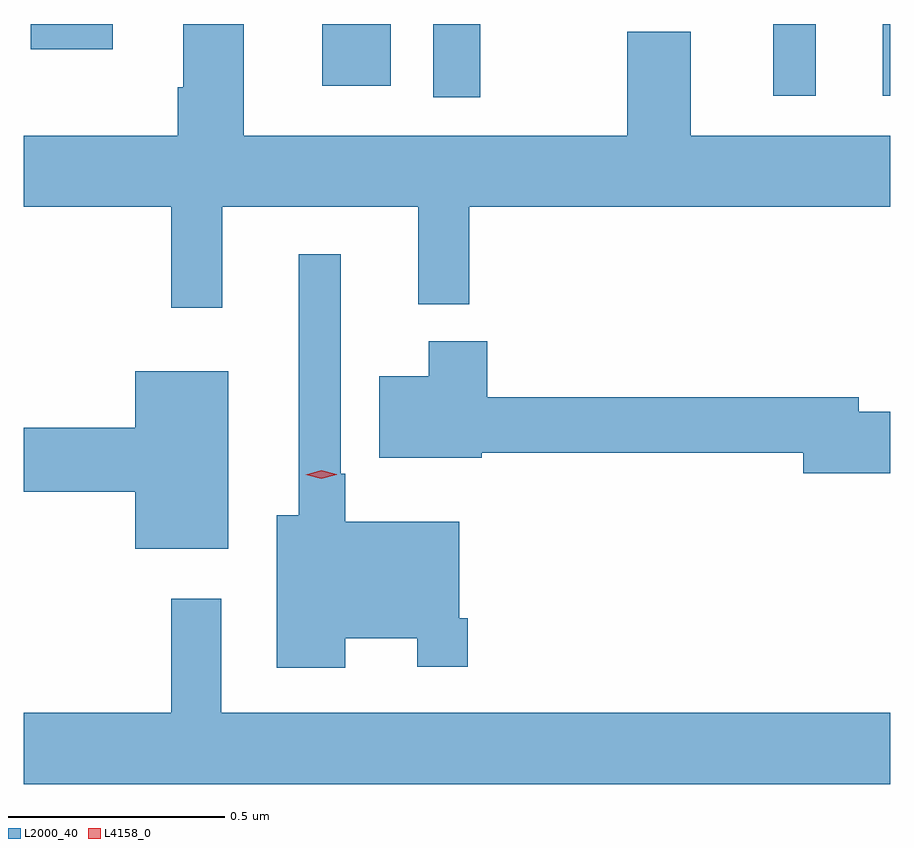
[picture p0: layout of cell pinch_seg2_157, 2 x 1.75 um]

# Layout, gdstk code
import gdstk
lib = gdstk.Library(unit=1e-6, precision=1e-09)
def R(c, l, rs):  # rectangles x0, y0, x1, y1
    for r in rs: c.add(gdstk.rectangle(r[:2], r[2:], *l))
def P(c, l, *ps):  # polygons
    for p in ps: c.add(gdstk.Polygon(p, *l))
L2000_40 = (2000, 40)
L4158_0 = (4158, 0)

pinch_seg2_157 = lib.new_cell('pinch_seg2_157')
R(pinch_seg2_157, L2000_40, [(1098.222,633.237,1098.331,633.406), (1099.007,633.24,1099.105,633.406), (1099.26,633.24,1099.277,633.406), (1097.966,633.264,1098.124,633.406), (1097.293,633.348,1097.482,633.406)])
P(pinch_seg2_157, L2000_40, [(1097.735,632.984),(1098.188,632.984),(1098.188,632.759),(1098.305,632.759),(1098.305,632.984),(1099.277,632.984),(1099.277,633.148),(1098.817,633.148),(1098.817,633.388),(1098.67,633.388),(1098.67,633.148),(1097.785,633.148),(1097.785,633.406),(1097.645,633.406),(1097.645,633.26),(1097.633,633.26),(1097.633,633.148),(1097.277,633.148),(1097.277,632.984),(1097.617,632.984),(1097.617,632.751),(1097.735,632.751)],
  [(1098.019,631.988),(1098.185,631.988),(1098.185,631.923),(1098.302,631.923),(1098.302,632.035),(1098.282,632.035),(1098.282,632.257),(1098.019,632.257),(1098.019,632.368),(1098.009,632.368),(1098.009,632.875),(1097.912,632.875),(1097.912,632.272),(1097.861,632.272),(1097.861,631.92),(1098.019,631.92)],
  [(1099.277,632.511),(1099.204,632.511),(1099.204,632.545),(1098.347,632.545),(1098.347,632.674),(1098.212,632.674),(1098.212,632.593),(1098.098,632.593),(1098.098,632.405),(1098.334,632.405),(1098.334,632.416),(1099.076,632.416),(1099.076,632.369),(1099.277,632.369)],
  [(1097.749,632.605),(1097.534,632.605),(1097.534,632.474),(1097.277,632.474),(1097.277,632.327),(1097.534,632.327),(1097.534,632.195),(1097.749,632.195)],
  [(1099.277,631.816),(1097.733,631.816),(1097.733,632.08),(1097.617,632.08),(1097.617,631.816),(1097.277,631.816),(1097.277,631.652),(1099.277,631.652)])
P(pinch_seg2_157, L4158_0, [(1097.964,632.356),(1097.928,632.366),(1097.927,632.366),(1097.928,632.366),(1097.964,632.376),(1098,632.367),(1098,632.366),(1098,632.366)])

lib.write_gds('pinch_seg2_157.gds')
